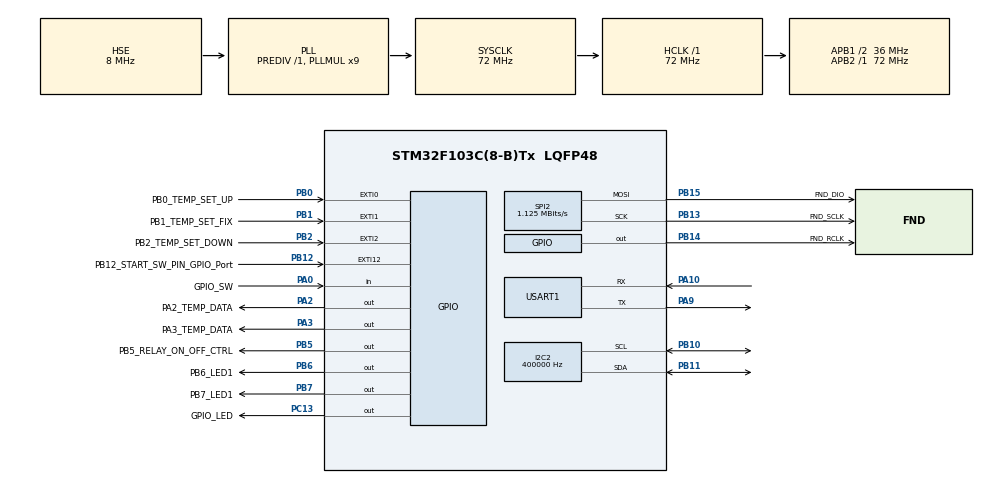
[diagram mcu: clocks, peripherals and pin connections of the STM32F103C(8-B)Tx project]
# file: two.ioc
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I2C2.ClockSpeed=400000
I2C2.DualAddressMode=I2C_DUALADDRESS_DISABLE
I2C2.GeneralCallMode=I2C_GENERALCALL_DISABLE
I2C2.I2C_Mode=I2C_Fast
I2C2.NoStretchMode=I2C_NOSTRETCH_DISABLE
I2C2.OwnAddress=0
Mcu.Family=STM32F1
Mcu.Name=STM32F103C(8-B)Tx
Mcu.Package=LQFP48
NVIC.EXTI0_IRQn=true\:9\:0\:true\:false\:true\:true\:true\:true
NVIC.EXTI15_10_IRQn=true\:9\:0\:true\:false\:true\:true\:true\:true
NVIC.EXTI1_IRQn=true\:9\:0\:true\:false\:true\:true\:true\:true
NVIC.EXTI2_IRQn=true\:9\:0\:true\:false\:true\:true\:true\:true
NVIC.PriorityGroup=NVIC_PRIORITYGROUP_4
NVIC.TIM2_IRQn=true\:0\:0\:false\:false\:true\:true\:true\:true
NVIC.TIM3_IRQn=true\:10\:0\:true\:false\:true\:true\:true\:true
PA0-WKUP.GPIO_Label=GPIO_SW
PA0-WKUP.GPIO_PuPd=GPIO_PULLUP
PA0-WKUP.Signal=GPIO_Input
PA10.Mode=Asynchronous
PA10.Signal=USART1_RX
PA13.Mode=Serial_Wire
PA13.Signal=SYS_JTMS-SWDIO
PA14.Mode=Serial_Wire
PA14.Signal=SYS_JTCK-SWCLK
PA2.GPIO_Label=PA2_TEMP_DATA
PA2.GPIO_PuPd=GPIO_PULLUP
PA2.GPIO_Speed=GPIO_SPEED_FREQ_HIGH
PA2.PinState=GPIO_PIN_SET
PA2.Signal=GPIO_Output
PA3.GPIO_Label=PA3_TEMP_DATA
PA3.GPIO_ModeDefaultOutputPP=GPIO_MODE_OUTPUT_PP
PA3.GPIO_PuPd=GPIO_PULLUP
PA3.GPIO_Speed=GPIO_SPEED_FREQ_HIGH
PA3.PinState=GPIO_PIN_SET
PA3.Signal=GPIO_Output
PA9.Mode=Asynchronous
PA9.Signal=USART1_TX
PB0.GPIO_Label=PB0_TEMP_SET_UP
PB0.GPIO_ModeDefaultEXTI=GPIO_MODE_IT_FALLING
PB0.GPIO_PuPd=GPIO_PULLUP
PB0.Signal=GPXTI0
PB1.GPIO_Label=PB1_TEMP_SET_FIX
PB1.GPIO_ModeDefaultEXTI=GPIO_MODE_IT_FALLING
PB1.GPIO_PuPd=GPIO_PULLUP
PB1.Signal=GPXTI1
PB10.Mode=I2C
PB10.Signal=I2C2_SCL
PB11.Mode=I2C
PB11.Signal=I2C2_SDA
PB12.GPIO_Label=PB12_START_SW_PIN_GPIO_Port
PB12.GPIO_ModeDefaultEXTI=GPIO_MODE_IT_FALLING
PB12.GPIO_PuPd=GPIO_PULLUP
PB12.Signal=GPXTI12
PB13.GPIO_Label=FND_SCLK
PB13.Mode=TX_Only_Simplex_Unidirect_Master
PB13.Signal=SPI2_SCK
PB14.GPIO_Label=FND_RCLK
PB14.GPIO_PuPd=GPIO_PULLUP
PB14.GPIO_Speed=GPIO_SPEED_FREQ_HIGH
PB14.PinState=GPIO_PIN_SET
PB14.Signal=GPIO_Output
PB15.GPIO_Label=FND_DIO
PB15.Mode=TX_Only_Simplex_Unidirect_Master
PB15.Signal=SPI2_MOSI
PB2.GPIO_Label=PB2_TEMP_SET_DOWN
PB2.GPIO_ModeDefaultEXTI=GPIO_MODE_IT_FALLING
PB2.GPIO_PuPd=GPIO_PULLUP
PB2.Signal=GPXTI2
PB5.GPIO_Label=PB5_RELAY_ON_OFF_CTRL
PB5.GPIO_PuPd=GPIO_PULLDOWN
PB5.GPIO_Speed=GPIO_SPEED_FREQ_HIGH
PB5.Signal=GPIO_Output
PB6.GPIO_Label=PB6_LED1
PB6.GPIO_PuPd=GPIO_PULLUP
PB6.GPIO_Speed=GPIO_SPEED_FREQ_HIGH
PB6.PinState=GPIO_PIN_SET
PB6.Signal=GPIO_Output
PB7.GPIO_Label=PB7_LED1
PB7.GPIO_Speed=GPIO_SPEED_FREQ_HIGH
PB7.PinState=GPIO_PIN_SET
PB7.Signal=GPIO_Output
PC13-TAMPER-RTC.GPIO_Label=GPIO_LED
PC13-TAMPER-RTC.GPIO_PuPd=GPIO_PULLDOWN
PC13-TAMPER-RTC.GPIO_Speed=GPIO_SPEED_FREQ_HIGH
PC13-TAMPER-RTC.PinState=GPIO_PIN_SET
PC13-TAMPER-RTC.Signal=GPIO_Output
PC14-OSC32_IN.Mode=LSE-External-Oscillator
PC14-OSC32_IN.Signal=RCC_OSC32_IN
PC15-OSC32_OUT.Mode=LSE-External-Oscillator
PC15-OSC32_OUT.Signal=RCC_OSC32_OUT
PD0-OSC_IN.Mode=HSE-External-Oscillator
PD0-OSC_IN.Signal=RCC_OSC_IN
PD1-OSC_OUT.Mode=HSE-External-Oscillator
PD1-OSC_OUT.Signal=RCC_OSC_OUT
ProjectManager.HeapSize=0x200
ProjectManager.StackSize=0x400
ProjectManager.TargetToolchain=STM32CubeIDE
RCC.AHBFreq_Value=72000000
RCC.APB1CLKDivider=RCC_HCLK_DIV2
RCC.APB1Freq_Value=36000000
RCC.APB1TimFreq_Value=72000000
RCC.APB2Freq_Value=72000000
RCC.APB2TimFreq_Value=72000000
RCC.HCLKFreq_Value=72000000
RCC.PLLMUL=RCC_PLL_MUL9
RCC.PLLSourceVirtual=RCC_PLLSOURCE_HSE
RCC.SYSCLKFreq_VALUE=72000000
RCC.SYSCLKSource=RCC_SYSCLKSOURCE_PLLCLK
RCC.USBFreq_Value=72000000
SPI2.BaudRatePrescaler=SPI_BAUDRATEPRESCALER_32
SPI2.CLKPolarity=SPI_POLARITY_HIGH
SPI2.CalculateBaudRate=1.125 MBits/s
SPI2.Direction=SPI_DIRECTION_2LINES
SPI2.Mode=SPI_MODE_MASTER
SPI2.VirtualType=VM_MASTER
TIM2.AutoReloadPreload=TIM_AUTORELOAD_PRELOAD_DISABLE
TIM2.Period=0xFFFF
TIM2.Prescaler=(72- 1)
TIM3.Period=99
TIM3.Prescaler=71
USART1.VirtualMode=VM_ASYNC
VP_TIM2_VS_ClockSourceINT.Mode=Internal
VP_TIM3_VS_ClockSourceINT.Mode=Internal
board=custom

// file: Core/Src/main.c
/* USER CODE BEGIN Header */
/**
  ******************************************************************************
  * @file           : main.c
  * @brief          : Main program body
  ******************************************************************************
  * @attention
  *
  * Copyright (c) 2025 STMicroelectronics.
  * All rights reserved.
  *
  * This software is licensed under terms that can be found in the LICENSE file
  * in the root directory of this software component.
  * If no LICENSE file comes with this software, it is provided AS-IS.
  *
  ******************************************************************************
  */
/* USER CODE END Header */
#include "main.h"

/* USER CODE BEGIN Includes */
#include <stdio.h>
#include "fnd_controller.h"
#include "ds18b20.h"
#include "heaterController.h"
#include "fonts.h"
#include "ssd1306.h"
#include "test.h"
#include "bitmap.h"
#include "horse_anim.h"
#include "ojtube_log.h"
//#include "utils.h"
//#include "oledController.h"
#include "g_var.h"
//#include "buttonController.h"
/* USER CODE END Includes */

/* USER CODE BEGIN PTD */
#include <stdio.h>
/* USER CODE END PTD */

/* USER CODE BEGIN PD */
/*
int _write(int file, char *p, int len){
  HAL_UART_Transmit(&huart1, (uint8_t *)p, len, 10);
  return len;
}
*/
/* USER CODE END PD */

I2C_HandleTypeDef hi2c2;

SPI_HandleTypeDef hspi2;

TIM_HandleTypeDef htim2;
TIM_HandleTypeDef htim3;

UART_HandleTypeDef huart1;

/* USER CODE BEGIN PV */
int _write(int file, char *p, int len){
  HAL_UART_Transmit(&huart1, (uint8_t *)p, len, 10);
  return len;
}

/* USER CODE END PV */

void SystemClock_Config(void);
static void MX_GPIO_Init(void);
static void MX_USART1_UART_Init(void);
static void MX_TIM2_Init(void);
static void MX_TIM3_Init(void);
static void MX_I2C2_Init(void);
static void MX_SPI2_Init(void);

/* USER CODE BEGIN 0 */
/*
int _write(int file, char *p, int len){
  HAL_UART_Transmit(&huart1, (uint8_t *)p, len, 10);
  return len;
}
*/
/* USER CODE END 0 */

int main(void)
{

  /* USER CODE BEGIN 1 */

float temper = 0.0;
  /* USER CODE END 1 */

  /* MCU Configuration--------------------------------------------------------*/

  /* Reset of all peripherals, Initializes the Flash interface and the Systick. */
  HAL_Init();

  /* Configure the system clock */
  SystemClock_Config();

  /* Initialize all configured peripherals */
  MX_GPIO_Init();
  MX_USART1_UART_Init();
  MX_TIM2_Init();
  MX_TIM3_Init();
  MX_I2C2_Init();
  MX_SPI2_Init();
  /* USER CODE BEGIN 2 */
  SSD1306_Init();

/*
  SSD1306_GotoXY (0,0);
  SSD1306_Puts ("CROP", &Font_11x18, 1);
  SSD1306_GotoXY (10, 30);
  SSD1306_Puts ("  DRYER :)", &Font_11x18, 1);
  SSD1306_UpdateScreen(); //display
  HAL_Delay (2000);

  SSD1306_GotoXY (0,0);
  SSD1306_Puts ("CROP", &Font_11x18, 1);
  SSD1306_GotoXY (10, 30);
  SSD1306_Puts ("  DRYER :)", &Font_11x18, 1);
  SSD1306_UpdateScreen(); //display

  HAL_Delay (2000);

  SSD1306_ScrollRight(0,7);  // scroll entire screen
  HAL_Delay(2000);  // 2 sec

  SSD1306_ScrollLeft(0,7);  // scroll entire screen
  HAL_Delay(2000);  // 2 sec

  SSD1306_Stopscroll();
  SSD1306_Clear();

  SSD1306_DrawBitmap(0,0,logo, 128, 64, 1);
  SSD1306_UpdateScreen();

  HAL_Delay(2000);

  SSD1306_ScrollRight(0x00, 0x0f);    // scroll entire screen right

  HAL_Delay (2000);

  SSD1306_ScrollLeft(0x00, 0x0f);  // scroll entire screen left

  HAL_Delay (2000);

  SSD1306_Scrolldiagright(0x00, 0x0f);  // scroll entire screen diagonal right

  HAL_Delay (2000);

  SSD1306_Scrolldiagleft(0x00, 0x0f);  // scroll entire screen diagonal left

  HAL_Delay (2000);

  SSD1306_Stopscroll();   // stop scrolling. If not done, screen will keep on scrolling

  SSD1306_InvertDisplay(1);   // invert the display

  HAL_Delay(2000);

  SSD1306_InvertDisplay(0);  // normalize the display

  HAL_Delay(300);                       */

  //HAL_TIM_Base_Start_IT(&htim2);
  //  SSD1306_InvertDisplay(1);

  /*
  SSD1306_Clear();
		  SSD1306_DrawBitmap(0,0,ojtubelog1,128,64,1);
		  SSD1306_UpdateScreen();
          HAL_Delay (300);
*/

init_fnd(&hspi2);

HAL_TIM_Base_Start_IT(&htim3);

Ds18b20_Init();
Ds18b20_Init_Simple();
  /* USER CODE END 2 */

  /* Infinite loop */
  /* USER CODE BEGIN WHILE */
  //  SSD1306_InvertDisplay(1);

   while (1)
  {
/*
	   SSD1306_Clear();
	  		  SSD1306_DrawBitmap(0,0,ojtubelog1,128,64,1);
	  		  SSD1306_UpdateScreen();
	            HAL_Delay (300);        */

	            /*
	   SSD1306_GotoXY (0,0);
	   SSD1306_Puts ("CROP", &Font_11x18, 1);
	   SSD1306_GotoXY (10, 30);
	   SSD1306_Puts ("  DRYER :)", &Font_11x18, 1);
	   SSD1306_UpdateScreen(); //display
	   HAL_Delay (2000);

	   SSD1306_GotoXY (0,0);
	   SSD1306_Puts ("CROP", &Font_11x18, 1);
	   SSD1306_GotoXY (10, 30);
	   SSD1306_Puts ("  DRYER :)", &Font_11x18, 1);
	   SSD1306_UpdateScreen(); //display

	   HAL_Delay (2000);

	   SSD1306_ScrollRight(0,7);  // scroll entire screen
	   HAL_Delay(2000);  // 2 sec

	   SSD1306_ScrollLeft(0,7);  // scroll entire screen
	   HAL_Delay(2000);  // 2 sec

	   SSD1306_Stopscroll();
	   SSD1306_Clear();

	   SSD1306_DrawBitmap(0,0,logo, 128, 64, 1);
	   SSD1306_UpdateScreen();

	   HAL_Delay(2000);

	   SSD1306_ScrollRight(0x00, 0x0f);    // scroll entire screen right

	   HAL_Delay (2000);

	   SSD1306_ScrollLeft(0x00, 0x0f);  // scroll entire screen left

	   HAL_Delay (2000);

	   SSD1306_Scrolldiagright(0x00, 0x0f);  // scroll entire screen diagonal right

	   HAL_Delay (2000);

	   SSD1306_Scrolldiagleft(0x00, 0x0f);  // scroll entire screen diagonal left

	   HAL_Delay (2000);

	   SSD1306_Stopscroll();   // stop scrolling. If not done, screen will keep on scrolling

	   SSD1306_InvertDisplay(1);   // invert the display

	   HAL_Delay(2000);

	   SSD1306_InvertDisplay(0);  // normalize the display

	   HAL_Delay(300);
*/

/*
	   if(g_f_sw_up){
		   printf("push g_f_sw_up\r\n");
		   g_f_sw_up = 0;
		   HAL_GPIO_TogglePin(PB6_LED1_GPIO_Port, PB6_LED1_Pin);
	   }

	   if(g_f_sw_down){
	   		   printf("push g_f_sw_down\r\n");
	   		   g_f_sw_down = 0;
	   		 HAL_GPIO_TogglePin(PB7_LED1_GPIO_Port, PB7_LED1_Pin);
	   	}

	   	if(g_f_sw_fix){
	   			   printf("push g_f_sw_fix\r\n");
	   			   g_f_sw_fix = 0;
	   			HAL_GPIO_TogglePin(PB5_RELAY_ON_OFF_CTRL_GPIO_Port, PB5_RELAY_ON_OFF_CTRL_Pin);
	   	}
	 	if(g_f_sw_on){
		   			   printf("push g_f_sw_on\r\n");
		   			   g_f_sw_on = 0;

		 }

	 	 HAL_Delay(1000);

*/

/*
        if(HAL_GPIO_ReadPin(PB12_START_SW_PIN_GPIO_Port, PB12_START_SW_PIN_Pin)){

        	   printf("1\r\n");
        }else{

               printf("0\r\n");
        }

        */
	  // HAL_UART_Transmit(&huart1,senddata, strlen(senddata), 1000);
	//  HAL_Delay(1000);
/*
if(HAL_GPIO_ReadPin(PB0_TEMP_SET_UP_GPIO_Port, PB0_TEMP_SET_UP_Pin)){
	printf("1\r\n");
}else{
	printf("0\r\n");
}
HAL_Delay(10);
*/
	//printf("hello world!\r\n");
	//HAL_Delay (1000);

	/*
	   SSD1306_Clear();
		  SSD1306_DrawBitmap(0,0,ojtubelog1,128,64,1);
		  SSD1306_UpdateScreen();
          HAL_Delay (2000);
          */

	    if(!isConverting()){
	       StartConverting();
        }

        checkConverting();

       if(!isConverting()){
         temper = getTemper();
        }

       HAL_Delay(10);

	Ds18b20_ManualConvert();

	 if(getCurrentTemper() > 50 && getHeaterState() == t_ON){
		  heaterControll(t_OFF);
	  }else if (getCurrentTemper() < 45 && getHeaterState() == t_OFF){
		  heaterControll(t_ON);
	  }

//	 HAL_GPIO_TogglePin(PB5_RELAY_ON_OFF_CTRL_GPIO_Port, PB5_RELAY_ON_OFF_CTRL_Pin);
// HAL_Delay(2000);

	//  Ds18b20_ManualConvert();
	//  digit4_replay((int)(ds18b20[0].Temperature * 10), 5000);
	  /*
	  for(int i = 0; i<=9999; i++){

	  		  digit4_replay(i, 450); //send counter 0-9999 with delay 50 cicles and hide zero

	  	  }
               */
	 // button_state = HAL_GPIO_ReadPin(PB0_TEMP_SET_UP_GPIO_Port, PB0_TEMP_SET_UP_Pin);
	 // HAL_Delay(100);

     // printf("hello world!!!\r\n");
	 // HAL_UART_Transmit(&huart1, senddata, strlen(senddata), 1000);
	  //HAL_Delay(1000);

	/*
	  HAL_GPIO_WritePin(GPIO_LED_GPIO_Port, GPIO_LED_Pin, 1);
	  HAL_Delay(100);
	  HAL_GPIO_WritePin(GPIO_LED_GPIO_Port, GPIO_LED_Pin, 0);
	  HAL_Delay(100);
	                                                           */
    /* USER CODE END WHILE */

  }
}

void SystemClock_Config(void)
{
  RCC_OscInitTypeDef RCC_OscInitStruct = {0};
  RCC_ClkInitTypeDef RCC_ClkInitStruct = {0};

  /** Initializes the RCC Oscillators according to the specified parameters
  * in the RCC_OscInitTypeDef structure.
  */
  RCC_OscInitStruct.OscillatorType = RCC_OSCILLATORTYPE_HSE;
  RCC_OscInitStruct.HSEState = RCC_HSE_ON;
  RCC_OscInitStruct.HSEPredivValue = RCC_HSE_PREDIV_DIV1;
  RCC_OscInitStruct.HSIState = RCC_HSI_ON;
  RCC_OscInitStruct.PLL.PLLState = RCC_PLL_ON;
  RCC_OscInitStruct.PLL.PLLSource = RCC_PLLSOURCE_HSE;
  RCC_OscInitStruct.PLL.PLLMUL = RCC_PLL_MUL9;
  if (HAL_RCC_OscConfig(&RCC_OscInitStruct) != HAL_OK)
  {
    Error_Handler();
  }

  /** Initializes the CPU, AHB and APB buses clocks
  */
  RCC_ClkInitStruct.ClockType = RCC_CLOCKTYPE_HCLK|RCC_CLOCKTYPE_SYSCLK
                              |RCC_CLOCKTYPE_PCLK1|RCC_CLOCKTYPE_PCLK2;
  RCC_ClkInitStruct.SYSCLKSource = RCC_SYSCLKSOURCE_PLLCLK;
  RCC_ClkInitStruct.AHBCLKDivider = RCC_SYSCLK_DIV1;
  RCC_ClkInitStruct.APB1CLKDivider = RCC_HCLK_DIV2;
  RCC_ClkInitStruct.APB2CLKDivider = RCC_HCLK_DIV1;

  if (HAL_RCC_ClockConfig(&RCC_ClkInitStruct, FLASH_LATENCY_2) != HAL_OK)
  {
    Error_Handler();
  }
}

static void MX_I2C2_Init(void)
{

  hi2c2.Instance = I2C2;
  hi2c2.Init.ClockSpeed = 400000;
  hi2c2.Init.DutyCycle = I2C_DUTYCYCLE_2;
  hi2c2.Init.OwnAddress1 = 0;
  hi2c2.Init.AddressingMode = I2C_ADDRESSINGMODE_7BIT;
  hi2c2.Init.DualAddressMode = I2C_DUALADDRESS_DISABLE;
  hi2c2.Init.OwnAddress2 = 0;
  hi2c2.Init.GeneralCallMode = I2C_GENERALCALL_DISABLE;
  hi2c2.Init.NoStretchMode = I2C_NOSTRETCH_DISABLE;
  if (HAL_I2C_Init(&hi2c2) != HAL_OK)
  {
    Error_Handler();
  }

}

static void MX_SPI2_Init(void)
{

  /* SPI2 parameter configuration*/
  hspi2.Instance = SPI2;
  hspi2.Init.Mode = SPI_MODE_MASTER;
  hspi2.Init.Direction = SPI_DIRECTION_2LINES;
  hspi2.Init.DataSize = SPI_DATASIZE_8BIT;
  hspi2.Init.CLKPolarity = SPI_POLARITY_HIGH;
  hspi2.Init.CLKPhase = SPI_PHASE_1EDGE;
  hspi2.Init.NSS = SPI_NSS_SOFT;
  hspi2.Init.BaudRatePrescaler = SPI_BAUDRATEPRESCALER_32;
  hspi2.Init.FirstBit = SPI_FIRSTBIT_MSB;
  hspi2.Init.TIMode = SPI_TIMODE_DISABLE;
  hspi2.Init.CRCCalculation = SPI_CRCCALCULATION_DISABLE;
  hspi2.Init.CRCPolynomial = 10;
  if (HAL_SPI_Init(&hspi2) != HAL_OK)
  {
    Error_Handler();
  }

}

static void MX_TIM2_Init(void)
{

  TIM_ClockConfigTypeDef sClockSourceConfig = {0};
  TIM_MasterConfigTypeDef sMasterConfig = {0};

  htim2.Instance = TIM2;
  htim2.Init.Prescaler = (72- 1);
  htim2.Init.CounterMode = TIM_COUNTERMODE_UP;
  htim2.Init.Period = 0xFFFF;
  htim2.Init.ClockDivision = TIM_CLOCKDIVISION_DIV1;
  htim2.Init.AutoReloadPreload = TIM_AUTORELOAD_PRELOAD_DISABLE;
  if (HAL_TIM_Base_Init(&htim2) != HAL_OK)
  {
    Error_Handler();
  }
  sClockSourceConfig.ClockSource = TIM_CLOCKSOURCE_INTERNAL;
  if (HAL_TIM_ConfigClockSource(&htim2, &sClockSourceConfig) != HAL_OK)
  {
    Error_Handler();
  }
  sMasterConfig.MasterOutputTrigger = TIM_TRGO_RESET;
  sMasterConfig.MasterSlaveMode = TIM_MASTERSLAVEMODE_DISABLE;
  if (HAL_TIMEx_MasterConfigSynchronization(&htim2, &sMasterConfig) != HAL_OK)
  {
    Error_Handler();
  }

}

static void MX_TIM3_Init(void)
{

  TIM_ClockConfigTypeDef sClockSourceConfig = {0};
  TIM_MasterConfigTypeDef sMasterConfig = {0};

  htim3.Instance = TIM3;
  htim3.Init.Prescaler = 71;
  htim3.Init.CounterMode = TIM_COUNTERMODE_UP;
  htim3.Init.Period = 99;
  htim3.Init.ClockDivision = TIM_CLOCKDIVISION_DIV1;
  htim3.Init.AutoReloadPreload = TIM_AUTORELOAD_PRELOAD_DISABLE;
  if (HAL_TIM_Base_Init(&htim3) != HAL_OK)
  {
    Error_Handler();
  }
  sClockSourceConfig.ClockSource = TIM_CLOCKSOURCE_INTERNAL;
  if (HAL_TIM_ConfigClockSource(&htim3, &sClockSourceConfig) != HAL_OK)
  {
    Error_Handler();
  }
  sMasterConfig.MasterOutputTrigger = TIM_TRGO_RESET;
  sMasterConfig.MasterSlaveMode = TIM_MASTERSLAVEMODE_DISABLE;
  if (HAL_TIMEx_MasterConfigSynchronization(&htim3, &sMasterConfig) != HAL_OK)
  {
    Error_Handler();
  }

}

static void MX_USART1_UART_Init(void)
{

  huart1.Instance = USART1;
  huart1.Init.BaudRate = 115200;
  huart1.Init.WordLength = UART_WORDLENGTH_8B;
  huart1.Init.StopBits = UART_STOPBITS_1;
  huart1.Init.Parity = UART_PARITY_NONE;
  huart1.Init.Mode = UART_MODE_TX_RX;
  huart1.Init.HwFlowCtl = UART_HWCONTROL_NONE;
  huart1.Init.OverSampling = UART_OVERSAMPLING_16;
  if (HAL_UART_Init(&huart1) != HAL_OK)
  {
    Error_Handler();
  }

}

static void MX_GPIO_Init(void)
{
  GPIO_InitTypeDef GPIO_InitStruct = {0};

  /* GPIO Ports Clock Enable */
  __HAL_RCC_GPIOC_CLK_ENABLE();
  __HAL_RCC_GPIOD_CLK_ENABLE();
  __HAL_RCC_GPIOA_CLK_ENABLE();
  __HAL_RCC_GPIOB_CLK_ENABLE();

  /*Configure GPIO pin Output Level */
  HAL_GPIO_WritePin(GPIO_LED_GPIO_Port, GPIO_LED_Pin, GPIO_PIN_SET);

  /*Configure GPIO pin Output Level */
  HAL_GPIO_WritePin(GPIOA, PA2_TEMP_DATA_Pin|PA3_TEMP_DATA_Pin, GPIO_PIN_SET);

  /*Configure GPIO pin Output Level */
  HAL_GPIO_WritePin(GPIOB, FND_RCLK_Pin|PB6_LED1_Pin|PB7_LED1_Pin, GPIO_PIN_SET);

  /*Configure GPIO pin Output Level */
  HAL_GPIO_WritePin(PB5_RELAY_ON_OFF_CTRL_GPIO_Port, PB5_RELAY_ON_OFF_CTRL_Pin, GPIO_PIN_RESET);

  /*Configure GPIO pin : GPIO_LED_Pin */
  GPIO_InitStruct.Pin = GPIO_LED_Pin;
  GPIO_InitStruct.Mode = GPIO_MODE_OUTPUT_PP;
  GPIO_InitStruct.Pull = GPIO_PULLDOWN;
  GPIO_InitStruct.Speed = GPIO_SPEED_FREQ_HIGH;
  HAL_GPIO_Init(GPIO_LED_GPIO_Port, &GPIO_InitStruct);

  /*Configure GPIO pin : GPIO_SW_Pin */
  GPIO_InitStruct.Pin = GPIO_SW_Pin;
  GPIO_InitStruct.Mode = GPIO_MODE_INPUT;
  GPIO_InitStruct.Pull = GPIO_PULLUP;
  HAL_GPIO_Init(GPIO_SW_GPIO_Port, &GPIO_InitStruct);

  /*Configure GPIO pins : PA2_TEMP_DATA_Pin PA3_TEMP_DATA_Pin */
  GPIO_InitStruct.Pin = PA2_TEMP_DATA_Pin|PA3_TEMP_DATA_Pin;
  GPIO_InitStruct.Mode = GPIO_MODE_OUTPUT_PP;
  GPIO_InitStruct.Pull = GPIO_PULLUP;
  GPIO_InitStruct.Speed = GPIO_SPEED_FREQ_HIGH;
  HAL_GPIO_Init(GPIOA, &GPIO_InitStruct);

  /*Configure GPIO pins : PB0_TEMP_SET_UP_Pin PB1_TEMP_SET_FIX_Pin PB2_TEMP_SET_DOWN_Pin PB12_START_SW_PIN_GPIO_Port_Pin */
  GPIO_InitStruct.Pin = PB0_TEMP_SET_UP_Pin|PB1_TEMP_SET_FIX_Pin|PB2_TEMP_SET_DOWN_Pin|PB12_START_SW_PIN_GPIO_Port_Pin;
  GPIO_InitStruct.Mode = GPIO_MODE_IT_FALLING;
  GPIO_InitStruct.Pull = GPIO_PULLUP;
  HAL_GPIO_Init(GPIOB, &GPIO_InitStruct);

  /*Configure GPIO pins : FND_RCLK_Pin PB6_LED1_Pin */
  GPIO_InitStruct.Pin = FND_RCLK_Pin|PB6_LED1_Pin;
  GPIO_InitStruct.Mode = GPIO_MODE_OUTPUT_PP;
  GPIO_InitStruct.Pull = GPIO_PULLUP;
  GPIO_InitStruct.Speed = GPIO_SPEED_FREQ_HIGH;
  HAL_GPIO_Init(GPIOB, &GPIO_InitStruct);

  /*Configure GPIO pin : PB5_RELAY_ON_OFF_CTRL_Pin */
  GPIO_InitStruct.Pin = PB5_RELAY_ON_OFF_CTRL_Pin;
  GPIO_InitStruct.Mode = GPIO_MODE_OUTPUT_PP;
  GPIO_InitStruct.Pull = GPIO_PULLDOWN;
  GPIO_InitStruct.Speed = GPIO_SPEED_FREQ_HIGH;
  HAL_GPIO_Init(PB5_RELAY_ON_OFF_CTRL_GPIO_Port, &GPIO_InitStruct);

  /*Configure GPIO pin : PB7_LED1_Pin */
  GPIO_InitStruct.Pin = PB7_LED1_Pin;
  GPIO_InitStruct.Mode = GPIO_MODE_OUTPUT_PP;
  GPIO_InitStruct.Pull = GPIO_NOPULL;
  GPIO_InitStruct.Speed = GPIO_SPEED_FREQ_HIGH;
  HAL_GPIO_Init(PB7_LED1_GPIO_Port, &GPIO_InitStruct);

  /* EXTI interrupt init*/
  HAL_NVIC_SetPriority(EXTI0_IRQn, 9, 0);
  HAL_NVIC_EnableIRQ(EXTI0_IRQn);

  HAL_NVIC_SetPriority(EXTI1_IRQn, 9, 0);
  HAL_NVIC_EnableIRQ(EXTI1_IRQn);

  HAL_NVIC_SetPriority(EXTI2_IRQn, 9, 0);
  HAL_NVIC_EnableIRQ(EXTI2_IRQn);

  HAL_NVIC_SetPriority(EXTI15_10_IRQn, 9, 0);
  HAL_NVIC_EnableIRQ(EXTI15_10_IRQn);

}

void Error_Handler(void)
{
  __disable_irq();
  while (1)
  {
  }
}
